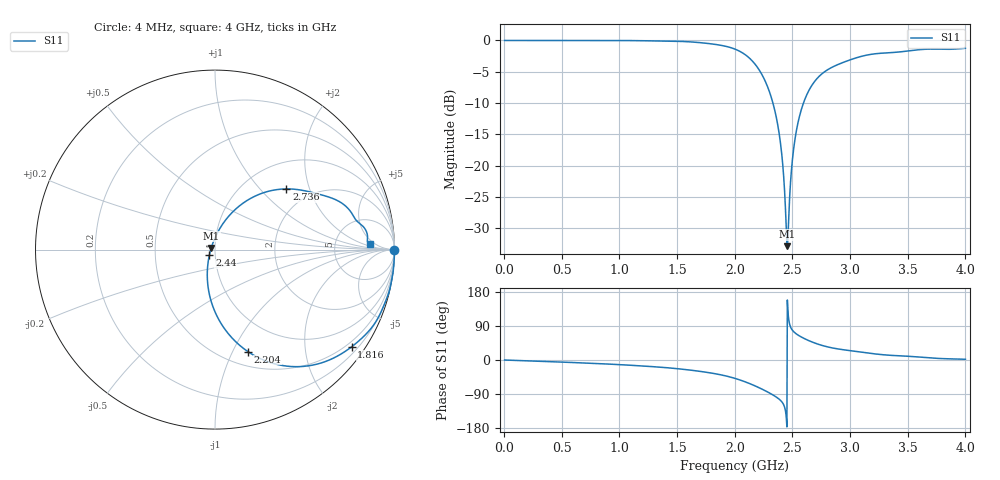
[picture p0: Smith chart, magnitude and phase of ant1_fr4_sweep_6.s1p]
! TOUCHSTONE file generated by CST MICROWAVE STUDIO
! Date and time: Fri May  6 15:38:54 2022
! Project name: ant1_ceramic_sweep_fr4.cst
! Parameters = {e=0.035; h=1.6; i=0.8; l1=0.45; l2=20.96; ls=80; wl=1.7; ws=30}
! Header version: 2018
! Port assignment regex: !\s*Touchstone port\s*([0-9]+)\s*=\s*(CST MWS port|CST DS port)\s*([0-9]+|Zmin|Zmax)\s*\(\"(.*)\"\)(\s*mode\s*([0-9]+))?.*
! Touchstone port assignment:
! Touchstone port 1 = CST MWS port 1 ("")
# GHz S DB R 50
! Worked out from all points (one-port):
!   1000 points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, 4 MHz to 4 GHz, reference 50 ohm
!   lowest |S11| = -32.8 dB at 2.456 GHz (marker M1), VSWR 1.05, Z = 47.9 + j0.808 ohm
!   |S11| at or under -10 dB: 2.331 GHz to 2.595 GHz (264.4 MHz wide, 10.7 % of centre)
!   S11 on the Smith chart (normalised r, x): 4 MHz: open; 1.816 GHz: 0.36, -3.09; 2.204 GHz: 0.65, -1.15; 2.44 GHz: 0.94, -0.06; 2.736 GHz: 1.52, +1.42; 4 GHz: 13, +3
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0.004  -0.00 -0.0
0.504  -0.00 -5.5
1.004  -0.01 -12.3
1.504  -0.13 -23.0
1.816  -0.59 -35.4
2.004  -1.40 -48.7
2.112  -2.58 -60.2
2.204  -4.49 -72.2
2.296  -7.95 -86.2
2.364  -12.62 -98.6
2.388  -15.24 -104.2
2.408  -18.25 -110.3
2.42  -20.70 -115.7
2.44  -27.00 -135.0
2.448  -30.71 -156.9
2.456  -32.83 158.3
2.468  -28.14 107.0
2.488  -21.51 84.2
2.504  -18.32 77.0
2.54  -13.86 67.5
2.588  -10.40 58.9
2.652  -7.67 49.8
2.736  -5.65 40.4
2.844  -4.27 32.0
3.004  -3.07 24.5
3.204  -2.16 16.5
3.504  -1.67 9.8
4  -1.24 1.9
